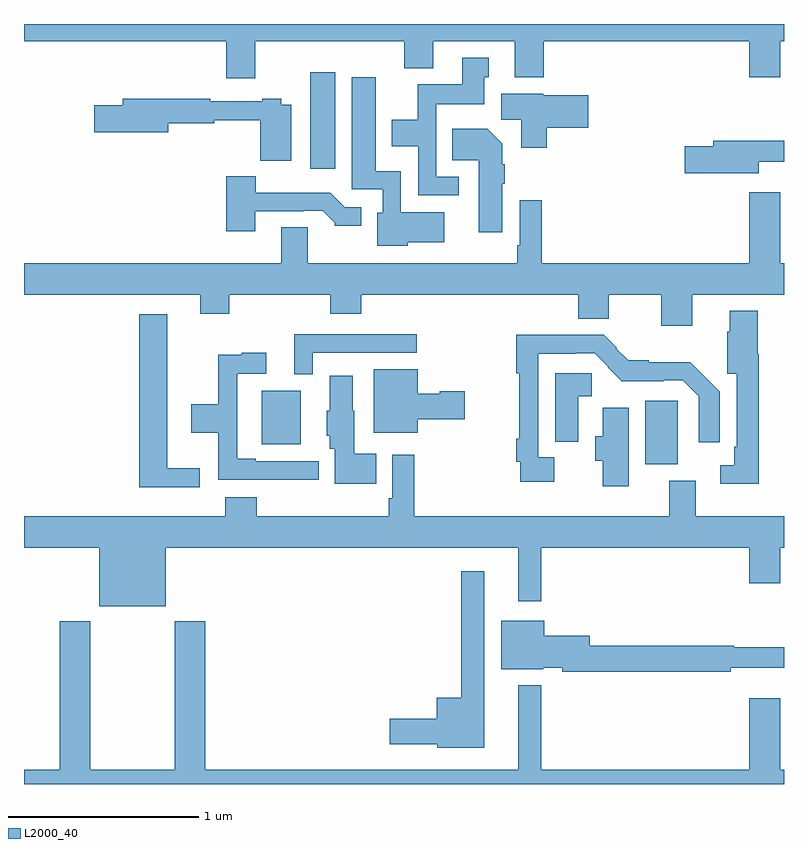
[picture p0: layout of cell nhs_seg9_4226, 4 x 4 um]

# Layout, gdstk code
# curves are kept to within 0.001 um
import gdstk
lib = gdstk.Library(unit=1e-6, precision=1e-09)
def R(c, l, rs):  # rectangles x0, y0, x1, y1
    for r in rs: c.add(gdstk.rectangle(r[:2], r[2:], *l))
def P(c, l, *ps):  # polygons
    for p in ps: c.add(gdstk.Polygon(p, *l))
L2000_40 = (2000, 40)

nhs_seg9_4226 = lib.new_cell('nhs_seg9_4226')
R(nhs_seg9_4226, L2000_40, [(356.27,1206.182,356.44,1206.516), (354.251,1206.287,354.457,1206.571), (354.506,1207.737,354.637,1208.245)])
P(nhs_seg9_4226, L2000_40, [(354.217,1208.408),(355.001,1208.408),(355.001,1208.267),(355.153,1208.267),(355.153,1208.408),(355.583,1208.408),(355.583,1208.219),(355.736,1208.219),(355.736,1208.408),(356.816,1208.408),(356.816,1208.22),(356.98,1208.22),(356.98,1208.408),(357,1208.408),(357,1208.5),(353,1208.5),(353,1208.408),(354.065,1208.408),(354.065,1208.214),(354.217,1208.214)],
  [(355.288,1207.695),(355.17,1207.695),(355.17,1208.078),(355.423,1208.078),(355.423,1208.22),(355.447,1208.22),(355.447,1208.323),(355.307,1208.323),(355.307,1208.182),(355.072,1208.182),(355.072,1207.996),(354.935,1207.996),(354.935,1207.856),(355.074,1207.856),(355.074,1207.599),(355.288,1207.599)],
  [(355.02,1207.352),(355.213,1207.352),(355.213,1207.51),(354.984,1207.51),(354.984,1207.726),(354.85,1207.726),(354.85,1208.221),(354.725,1208.221),(354.725,1207.629),(354.888,1207.629),(354.888,1207.506),(354.86,1207.506),(354.86,1207.334),(355.02,1207.334)],
  [(355.751,1207.955),(355.969,1207.955),(355.969,1208.125),(355.734,1208.125),(355.734,1208.134),(355.511,1208.134),(355.511,1207.996),(355.616,1207.996),(355.616,1207.848),(355.751,1207.848)],
  [(354.406,1208.074),(354.354,1208.074),(354.354,1208.107),(354.254,1208.107),(354.254,1208.094),(353.981,1208.094),(353.981,1208.107),(353.519,1208.107),(353.519,1208.073),(353.37,1208.073),(353.37,1207.931),(353.758,1207.931),(353.758,1207.978),(354,1207.978),(354,1207.993),(354.244,1207.993),(354.244,1207.781),(354.406,1207.781)],
  [(355.516,1207.66),(355.529,1207.66),(355.529,1207.763),(355.516,1207.763),(355.516,1207.87),(355.438,1207.948),(355.255,1207.948),(355.255,1207.784),(355.394,1207.784),(355.394,1207.404),(355.516,1207.404)],
  [(356.866,1207.775),(357,1207.775),(357,1207.885),(356.627,1207.885),(356.627,1207.856),(356.478,1207.856),(356.478,1207.714),(356.866,1207.714)],
  [(354.217,1207.515),(354.473,1207.515),(354.473,1207.518),(354.572,1207.518),(354.636,1207.454),(354.636,1207.439),(354.775,1207.439),(354.775,1207.536),(354.687,1207.536),(354.611,1207.612),(354.22,1207.612),(354.22,1207.699),(354.065,1207.699),(354.065,1207.41),(354.217,1207.41)],
  [(356.518,1207.076),(357,1207.076),(357,1207.24),(356.98,1207.24),(356.98,1207.615),(356.816,1207.615),(356.816,1207.24),(355.724,1207.24),(355.724,1207.573),(355.608,1207.573),(355.608,1207.336),(355.596,1207.336),(355.596,1207.24),(354.493,1207.24),(354.493,1207.43),(354.353,1207.43),(354.353,1207.24),(353,1207.24),(353,1207.076),(353.927,1207.076),(353.927,1206.974),(354.08,1206.974),(354.08,1207.076),(354.611,1207.076),(354.611,1206.974),(354.776,1206.974),(354.776,1207.076),(355.916,1207.076),(355.916,1206.95),(356.077,1206.95),(356.077,1207.076),(356.354,1207.076),(356.354,1206.912),(356.518,1206.912)],
  [(356.867,1206.763),(356.861,1206.763),(356.861,1206.991),(356.714,1206.991),(356.714,1206.881),(356.702,1206.881),(356.702,1206.66),(356.751,1206.66),(356.751,1206.274),(356.739,1206.274),(356.739,1206.177),(356.664,1206.177),(356.664,1206.08),(356.867,1206.08)],
  [(353.926,1206.161),(353.755,1206.161),(353.755,1206.973),(353.606,1206.973),(353.606,1206.062),(353.926,1206.062)],
  [(354.519,1206.771),(355.066,1206.771),(355.066,1206.867),(354.422,1206.867),(354.422,1206.656),(354.519,1206.656)],
  [(355.79,1206.22),(355.707,1206.22),(355.707,1206.764),(355.904,1206.764),(355.904,1206.768),(356.004,1206.768),(356.076,1206.696),(356.073,1206.693),(356.147,1206.62),(356.366,1206.62),(356.366,1206.624),(356.466,1206.624),(356.55,1206.54),(356.55,1206.3),(356.662,1206.3),(356.662,1206.564),(356.507,1206.721),(356.287,1206.721),(356.287,1206.729),(356.179,1206.729),(356.117,1206.791),(356.121,1206.795),(356.051,1206.865),(355.591,1206.865),(355.591,1206.661),(355.606,1206.661),(355.606,1206.316),(355.591,1206.316),(355.591,1206.196),(355.611,1206.196),(355.611,1206.092),(355.79,1206.092)],
  [(354.55,1206.198),(354.22,1206.198),(354.22,1206.211),(354.123,1206.211),(354.123,1206.66),(354.274,1206.66),(354.274,1206.769),(354.146,1206.769),(354.146,1206.758),(354.022,1206.758),(354.022,1206.498),(353.88,1206.498),(353.88,1206.35),(354.022,1206.35),(354.022,1206.102),(354.307,1206.102),(354.307,1206.101),(354.55,1206.101)],
  [(355.072,1206.419),(355.321,1206.419),(355.321,1206.566),(355.188,1206.566),(355.188,1206.553),(355.072,1206.553),(355.072,1206.682),(354.842,1206.682),(354.842,1206.35),(355.072,1206.35)],
  [(355.918,1206.542),(355.987,1206.542),(355.987,1206.662),(355.796,1206.662),(355.796,1206.301),(355.918,1206.301)],
  [(354.854,1206.238),(354.739,1206.238),(354.739,1206.465),(354.73,1206.465),(354.73,1206.649),(354.608,1206.649),(354.608,1206.465),(354.593,1206.465),(354.593,1206.333),(354.608,1206.333),(354.608,1206.264),(354.635,1206.264),(354.635,1206.08),(354.854,1206.08)],
  [(356.182,1206.481),(356.045,1206.481),(356.045,1206.331),(356.006,1206.331),(356.006,1206.202),(356.045,1206.202),(356.045,1206.066),(356.182,1206.066)],
  [(353.746,1205.744),(355.601,1205.744),(355.601,1205.463),(355.723,1205.463),(355.723,1205.744),(356.816,1205.744),(356.816,1205.556),(356.98,1205.556),(356.98,1205.744),(357,1205.744),(357,1205.908),(356.536,1205.908),(356.536,1206.097),(356.396,1206.097),(356.396,1205.908),(355.055,1205.908),(355.055,1206.232),(354.939,1206.232),(354.939,1206.004),(354.919,1206.004),(354.919,1205.908),(354.224,1205.908),(354.224,1206.01),(354.059,1206.01),(354.059,1205.908),(353,1205.908),(353,1205.744),(353.396,1205.744),(353.396,1205.435),(353.746,1205.435)],
  [(355.423,1205.62),(355.302,1205.62),(355.302,1204.954),(355.172,1204.954),(355.172,1204.844),(354.924,1204.844),(354.924,1204.709),(355.176,1204.709),(355.176,1204.691),(355.423,1204.691)],
  [(356.72,1205.111),(357,1205.111),(357,1205.221),(356.736,1205.221),(356.736,1205.228),(355.978,1205.228),(355.978,1205.281),(355.738,1205.281),(355.738,1205.359),(355.511,1205.359),(355.511,1205.105),(355.734,1205.105),(355.734,1205.111),(355.834,1205.111),(355.834,1205.092),(356.72,1205.092)],
  [(357,1204.576),(356.98,1204.576),(356.98,1204.951),(356.816,1204.951),(356.816,1204.576),(355.723,1204.576),(355.723,1205.02),(355.601,1205.02),(355.601,1204.576),(353.954,1204.576),(353.954,1205.356),(353.794,1205.356),(353.794,1204.576),(353.349,1204.576),(353.349,1205.356),(353.189,1205.356),(353.189,1204.576),(353,1204.576),(353,1204.5),(357,1204.5)])

lib.write_gds('nhs_seg9_4226.gds')
